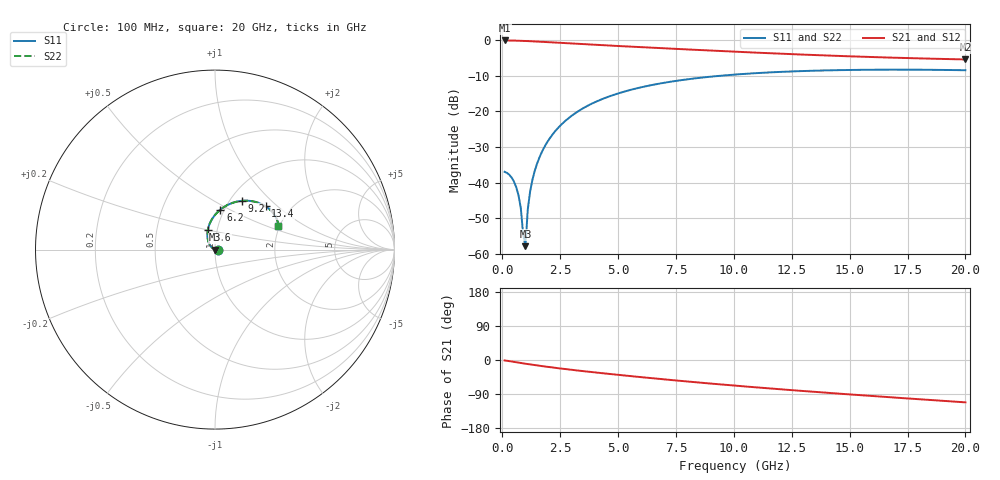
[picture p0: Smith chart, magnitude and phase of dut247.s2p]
! Created with skrf 1.9.0 (http://scikit-rf.org).
# GHz S RI R 50.0
!freq ReS11 ImS11 ReS21 ImS21 ReS12 ImS12 ReS22 ImS22
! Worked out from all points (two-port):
!   200 points, 100 MHz to 20 GHz, reference 50 ohm
!   highest |S21| = -0.13 dB at 100 MHz (marker M1); lowest = -5.5 dB at 20 GHz (marker M2)
!   |S21| within 3 dB of the highest: start of sweep to 9.555 GHz
!   lowest |S11| = -57.8 dB at 1 GHz (marker M3), VSWR 1.00, Z = 49.9 - j0.0257 ohm
!   |S11| at or under -10 dB: start of sweep to 9.461 GHz
!   |S22| runs from -57.8 to -8.3 dB; largest |S21 - S12| = 2.3e-15
!   S11 on the Smith chart (normalised r, x): 100 MHz: 1.03, -0.00; 3.6 GHz: 0.90, +0.20; 6.2 GHz: 0.96, +0.45; 9.2 GHz: 1.14, +0.68; 13.4 GHz: 1.50, +0.84; 20 GHz: 1.96, +0.61
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0.1  0.0142 -0.000652  0.9853 -0.0173  0.9853 -0.0173  0.0142 -0.000652
0.4  0.0116 -0.00225  0.9803 -0.0687  0.9803 -0.0687  0.0116 -0.00225
0.7  0.00622 -0.00242  0.9698 -0.1182  0.9698 -0.1182  0.00622 -0.00242
0.8  0.00391 -0.00199  0.9652 -0.1341  0.9652 -0.1341  0.00391 -0.00199
0.9  0.00141 -0.00128  0.9602 -0.1496  0.9602 -0.1496  0.00141 -0.00128
1  -0.00126 -0.000258  0.9547 -0.1648  0.9547 -0.1648  -0.00126 -0.000258
1.1  -0.00405 0.00108  0.9488 -0.1796  0.9488 -0.1796  -0.00405 0.00108
1.2  -0.00693 0.00273  0.9426 -0.194  0.9426 -0.194  -0.00693 0.00273
1.4  -0.0128 0.00702  0.9293 -0.2215  0.9293 -0.2215  -0.0128 0.00702
1.6  -0.0186 0.0126  0.915 -0.2475  0.915 -0.2475  -0.0186 0.0126
2  -0.029 0.027  0.8843 -0.2947  0.8843 -0.2947  -0.029 0.027
2.4  -0.0368 0.045  0.8521 -0.3365  0.8521 -0.3365  -0.0368 0.045
3.5  -0.041 0.103  0.7616 -0.4294  0.7616 -0.4294  -0.041 0.103
3.6  -0.0402 0.1084  0.7534 -0.4366  0.7534 -0.4366  -0.0402 0.1084
4.8  -0.0172 0.1689  0.6552 -0.5101  0.6552 -0.5101  -0.0172 0.1689
6.2  0.0298 0.2227  0.5425 -0.5711  0.5425 -0.5711  0.0298 0.2227
6.8  0.0534 0.2394  0.4953 -0.59  0.4953 -0.59  0.0534 0.2394
9.2  0.1506 0.2717  0.318 -0.6307  0.318 -0.6307  0.1506 0.2717
10.1  0.1842 0.2722  0.2577 -0.6343  0.2577 -0.6343  0.1842 0.2722
13.4  0.2814 0.2415  0.0678 -0.613  0.0678 -0.613  0.2814 0.2415
16.7  0.335 0.1876  -0.0798 -0.5617  -0.0798 -0.5617  0.335 0.1876
20  0.3525 0.1333  -0.1978 -0.4959  -0.1978 -0.4959  0.3525 0.1333
